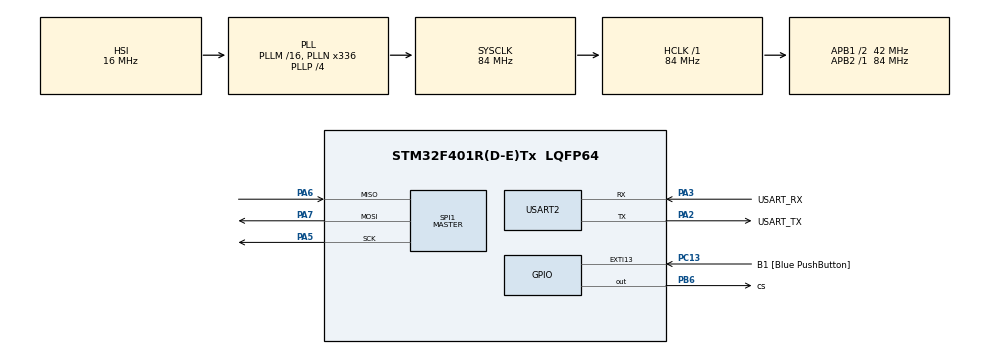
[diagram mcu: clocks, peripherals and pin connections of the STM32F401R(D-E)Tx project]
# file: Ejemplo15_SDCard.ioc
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FATFS._MAX_SS=4096
FATFS._USE_LFN=1
Mcu.Family=STM32F4
Mcu.Name=STM32F401R(D-E)Tx
Mcu.Package=LQFP64
NVIC.PriorityGroup=NVIC_PRIORITYGROUP_0
PA13.GPIO_Label=TMS
PA13.Mode=Serial_Wire
PA13.Signal=SYS_JTMS-SWDIO
PA14.GPIO_Label=TCK
PA14.Mode=Serial_Wire
PA14.Signal=SYS_JTCK-SWCLK
PA2.GPIO_Label=USART_TX
PA2.GPIO_Mode=GPIO_MODE_AF_PP
PA2.GPIO_PuPd=GPIO_NOPULL
PA2.GPIO_Speed=GPIO_SPEED_FREQ_LOW
PA2.Mode=Asynchronous
PA2.Signal=USART2_TX
PA3.GPIO_Label=USART_RX
PA3.GPIO_Mode=GPIO_MODE_AF_PP
PA3.GPIO_PuPd=GPIO_NOPULL
PA3.GPIO_Speed=GPIO_SPEED_FREQ_LOW
PA3.Mode=Asynchronous
PA3.Signal=USART2_RX
PA5.Mode=Full_Duplex_Master
PA5.Signal=SPI1_SCK
PA6.Mode=Full_Duplex_Master
PA6.Signal=SPI1_MISO
PA7.Mode=Full_Duplex_Master
PA7.Signal=SPI1_MOSI
PB3.GPIO_Label=SWO
PB3.Signal=SYS_JTDO-SWO
PB6.GPIO_Label=cs
PB6.Signal=GPIO_Output
PC13-ANTI_TAMP.GPIO_Label=B1 [Blue PushButton]
PC13-ANTI_TAMP.GPIO_ModeDefaultEXTI=GPIO_MODE_IT_FALLING
PC13-ANTI_TAMP.GPIO_PuPd=GPIO_NOPULL
PC13-ANTI_TAMP.Signal=GPXTI13
PC14-OSC32_IN.Mode=LSE-External-Oscillator
PC14-OSC32_IN.Signal=RCC_OSC32_IN
PC15-OSC32_OUT.Mode=LSE-External-Oscillator
PC15-OSC32_OUT.Signal=RCC_OSC32_OUT
PH0\ -\ OSC_IN.Mode=HSE-External-Clock-Source
PH0\ -\ OSC_IN.Signal=RCC_OSC_IN
PH1\ -\ OSC_OUT.Mode=HSE-External-Clock-Source
PH1\ -\ OSC_OUT.Signal=RCC_OSC_OUT
ProjectManager.HeapSize=0x200
ProjectManager.StackSize=0x400
ProjectManager.TargetToolchain=STM32CubeIDE
RCC.48MHZClocksFreq_Value=48000000
RCC.AHBFreq_Value=84000000
RCC.APB1CLKDivider=RCC_HCLK_DIV2
RCC.APB1Freq_Value=42000000
RCC.APB1TimFreq_Value=84000000
RCC.APB2Freq_Value=84000000
RCC.APB2TimFreq_Value=84000000
RCC.CortexFreq_Value=84000000
RCC.HCLKFreq_Value=84000000
RCC.HSE_VALUE=8000000
RCC.HSI_VALUE=16000000
RCC.PLLN=336
RCC.PLLP=RCC_PLLP_DIV4
RCC.PLLQ=7
RCC.SYSCLKFreq_VALUE=84000000
RCC.SYSCLKSource=RCC_SYSCLKSOURCE_PLLCLK
RCC.VCOOutputFreq_Value=336000000
SPI1.BaudRatePrescaler=SPI_BAUDRATEPRESCALER_8
SPI1.Direction=SPI_DIRECTION_2LINES
SPI1.Mode=SPI_MODE_MASTER
SPI1.VirtualType=VM_MASTER
USART2.VirtualMode=VM_ASYNC
VP_FATFS_VS_Generic.Mode=User_defined
board=NUCLEO-F401RE

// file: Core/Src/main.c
/* USER CODE BEGIN Header */
/**
  ******************************************************************************
  * @file           : main.c
  * @brief          : Main program body
  ******************************************************************************
  * @attention
  *
  * Copyright (c) 2023 STMicroelectronics.
  * All rights reserved.
  *
  * This software is licensed under terms that can be found in the LICENSE file
  * in the root directory of this software component.
  * If no LICENSE file comes with this software, it is provided AS-IS.
  *
  ******************************************************************************
  */
/* USER CODE END Header */
#include "main.h"
#include "fatfs.h"

/* USER CODE BEGIN Includes */
#include "fatfs_sd.h"
#include <stdio.h>
#include <string.h>
/* USER CODE END Includes */

SPI_HandleTypeDef hspi1;

UART_HandleTypeDef huart2;

void SystemClock_Config(void);
static void MX_GPIO_Init(void);
static void MX_USART2_UART_Init(void);
static void MX_SPI1_Init(void);

/* USER CODE BEGIN 0 */
int __io_putchar(int ch)
{
	HAL_UART_Transmit(&huart2, (uint8_t *)&ch,1, HAL_MAX_DELAY);
	//HAL_UART_Transmit(&huart1, (uint8_t *)&ch,1, HAL_MAX_DELAY);
	return ch;
}

/*definiciones*/
FATFS fs;
FIL fil;
FRESULT fresult;

UINT br,bw;
FATFS *pfs;
DWORD fre_clust;
uint32_t total,freespace;

#define Buffer_size 128

char buffer[Buffer_size];

/*tamaño arreglo*/
int buffsize(char *buf){

	int j=0;
	while(*buf++ != '\0') j++;
	return j;

}

/*limpiar buffer*/

void clear_buffer(void){

	for (int i = 0;  i < Buffer_size; ++i) {
		buffer[i] = '\0';
	}

}

/* USER CODE END 0 */

int main(void)
{

  /* MCU Configuration--------------------------------------------------------*/

  /* Reset of all peripherals, Initializes the Flash interface and the Systick. */
  HAL_Init();

  /* Configure the system clock */
  SystemClock_Config();

  /* Initialize all configured peripherals */
  MX_GPIO_Init();
  MX_USART2_UART_Init();
  MX_SPI1_Init();
  MX_FATFS_Init();
  /* USER CODE BEGIN 2 */

  HAL_Delay(800);
/*Montaje SD Card*/
  fresult = f_mount(&fs, "/", 1);
  	  if (fresult != FR_OK) {
		printf("error en la SD CARD :C\n\r");
	}
  	  else printf("SD card Montado correctamente :D\n\r");

 //*capacidad de almacenamiento*/
  	  //*total almacenamiento**//
  	  f_getfree("", &fre_clust, &pfs);
  	  total = (uint32_t) ((pfs->n_fatent- 2)*pfs->csize*0.5);
  	  printf("El Espacio de la SD CARD es : %lu\n\r",total);
  	//*Espacio libre**//

  	  freespace = (uint32_t) (fre_clust*pfs->csize*0.5);
  	  printf("El Espacio de la SD CARD Libre es : %lu\n\r",freespace);

  	  /*trabajamos con archivos - gets puts*/

  	  /*abrimos / creamos un arcivo .txt*/
  	  fresult = f_open(&fil,"archivo1.txt",FA_OPEN_ALWAYS|FA_READ|FA_WRITE);
  	  //le escribimos un mensaje
  	  f_puts("Este ejemplo se realizo en el curso de stm32 y se uso fputs",&fil);

  	  fresult = f_close(&fil);

  	  if (fresult == FR_OK) printf("Se escribio archivo1.txt de manera correcta\n\r ");
  	  else printf("No se creo :c\n\r");

  	  /*abrimos y leemos el mensaje*/

  	  fresult = f_open(&fil,"archivo1.txt",FA_READ);

  	  /*lectura de la cadena*/
  	  f_gets(buffer, f_size(&fil),&fil);
  	  printf("El archivo archivo1.txt fue abierto y leido el mensaje es:");
  	  HAL_ua(buffer);
  	  printf("\n\r");
  	  fresult = f_close(&fil);
  	  clear_buffer();
/*Desmontaje SD CARD*/

  	  fresult = f_mount(NULL, "/", 1);
  	  	  if (fresult == FR_OK) {
  			printf("SD card Desmontado\n\r");
  		}

  /* USER CODE END 2 */

  /* Infinite loop */
  while (1)
  {

  }
}

void SystemClock_Config(void)
{
  RCC_OscInitTypeDef RCC_OscInitStruct = {0};
  RCC_ClkInitTypeDef RCC_ClkInitStruct = {0};

  /** Configure the main internal regulator output voltage
  */
  __HAL_RCC_PWR_CLK_ENABLE();
  __HAL_PWR_VOLTAGESCALING_CONFIG(PWR_REGULATOR_VOLTAGE_SCALE2);

  /** Initializes the RCC Oscillators according to the specified parameters
  * in the RCC_OscInitTypeDef structure.
  */
  RCC_OscInitStruct.OscillatorType = RCC_OSCILLATORTYPE_HSI;
  RCC_OscInitStruct.HSIState = RCC_HSI_ON;
  RCC_OscInitStruct.HSICalibrationValue = RCC_HSICALIBRATION_DEFAULT;
  RCC_OscInitStruct.PLL.PLLState = RCC_PLL_ON;
  RCC_OscInitStruct.PLL.PLLSource = RCC_PLLSOURCE_HSI;
  RCC_OscInitStruct.PLL.PLLM = 16;
  RCC_OscInitStruct.PLL.PLLN = 336;
  RCC_OscInitStruct.PLL.PLLP = RCC_PLLP_DIV4;
  RCC_OscInitStruct.PLL.PLLQ = 7;
  if (HAL_RCC_OscConfig(&RCC_OscInitStruct) != HAL_OK)
  {
    Error_Handler();
  }

  /** Initializes the CPU, AHB and APB buses clocks
  */
  RCC_ClkInitStruct.ClockType = RCC_CLOCKTYPE_HCLK|RCC_CLOCKTYPE_SYSCLK
                              |RCC_CLOCKTYPE_PCLK1|RCC_CLOCKTYPE_PCLK2;
  RCC_ClkInitStruct.SYSCLKSource = RCC_SYSCLKSOURCE_PLLCLK;
  RCC_ClkInitStruct.AHBCLKDivider = RCC_SYSCLK_DIV1;
  RCC_ClkInitStruct.APB1CLKDivider = RCC_HCLK_DIV2;
  RCC_ClkInitStruct.APB2CLKDivider = RCC_HCLK_DIV1;

  if (HAL_RCC_ClockConfig(&RCC_ClkInitStruct, FLASH_LATENCY_2) != HAL_OK)
  {
    Error_Handler();
  }
}

static void MX_SPI1_Init(void)
{

  /* SPI1 parameter configuration*/
  hspi1.Instance = SPI1;
  hspi1.Init.Mode = SPI_MODE_MASTER;
  hspi1.Init.Direction = SPI_DIRECTION_2LINES;
  hspi1.Init.DataSize = SPI_DATASIZE_8BIT;
  hspi1.Init.CLKPolarity = SPI_POLARITY_LOW;
  hspi1.Init.CLKPhase = SPI_PHASE_1EDGE;
  hspi1.Init.NSS = SPI_NSS_SOFT;
  hspi1.Init.BaudRatePrescaler = SPI_BAUDRATEPRESCALER_8;
  hspi1.Init.FirstBit = SPI_FIRSTBIT_MSB;
  hspi1.Init.TIMode = SPI_TIMODE_DISABLE;
  hspi1.Init.CRCCalculation = SPI_CRCCALCULATION_DISABLE;
  hspi1.Init.CRCPolynomial = 10;
  if (HAL_SPI_Init(&hspi1) != HAL_OK)
  {
    Error_Handler();
  }

}

static void MX_USART2_UART_Init(void)
{

  huart2.Instance = USART2;
  huart2.Init.BaudRate = 115200;
  huart2.Init.WordLength = UART_WORDLENGTH_8B;
  huart2.Init.StopBits = UART_STOPBITS_1;
  huart2.Init.Parity = UART_PARITY_NONE;
  huart2.Init.Mode = UART_MODE_TX_RX;
  huart2.Init.HwFlowCtl = UART_HWCONTROL_NONE;
  huart2.Init.OverSampling = UART_OVERSAMPLING_16;
  if (HAL_UART_Init(&huart2) != HAL_OK)
  {
    Error_Handler();
  }

}

static void MX_GPIO_Init(void)
{
  GPIO_InitTypeDef GPIO_InitStruct = {0};

  /* GPIO Ports Clock Enable */
  __HAL_RCC_GPIOC_CLK_ENABLE();
  __HAL_RCC_GPIOH_CLK_ENABLE();
  __HAL_RCC_GPIOA_CLK_ENABLE();
  __HAL_RCC_GPIOB_CLK_ENABLE();

  /*Configure GPIO pin Output Level */
  HAL_GPIO_WritePin(cs_GPIO_Port, cs_Pin, GPIO_PIN_RESET);

  /*Configure GPIO pin : B1_Pin */
  GPIO_InitStruct.Pin = B1_Pin;
  GPIO_InitStruct.Mode = GPIO_MODE_IT_FALLING;
  GPIO_InitStruct.Pull = GPIO_NOPULL;
  HAL_GPIO_Init(B1_GPIO_Port, &GPIO_InitStruct);

  /*Configure GPIO pin : cs_Pin */
  GPIO_InitStruct.Pin = cs_Pin;
  GPIO_InitStruct.Mode = GPIO_MODE_OUTPUT_PP;
  GPIO_InitStruct.Pull = GPIO_NOPULL;
  GPIO_InitStruct.Speed = GPIO_SPEED_FREQ_LOW;
  HAL_GPIO_Init(cs_GPIO_Port, &GPIO_InitStruct);

}

void Error_Handler(void)
{
  __disable_irq();
  while (1)
  {
  }
}
